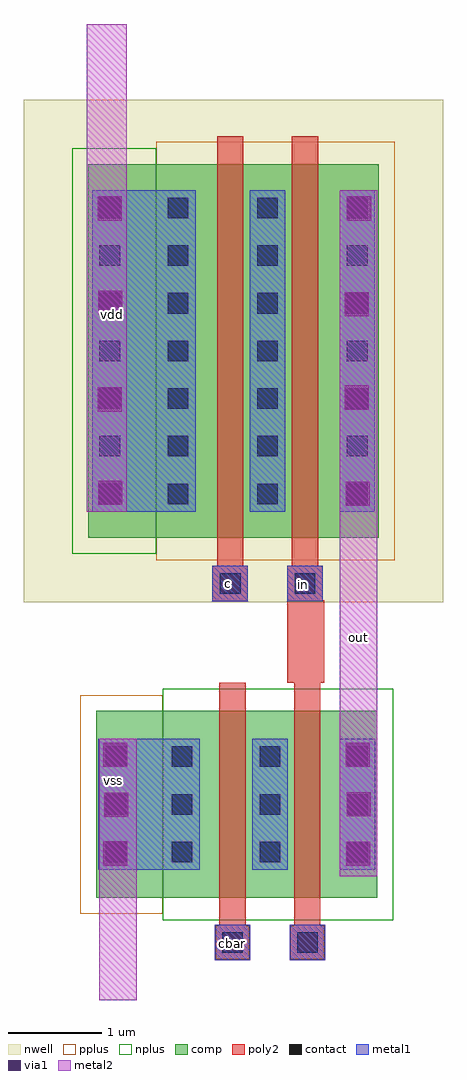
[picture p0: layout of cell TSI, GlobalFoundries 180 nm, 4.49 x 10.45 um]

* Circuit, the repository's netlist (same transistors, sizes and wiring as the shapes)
** sch_path: /foss/designs/CAD2/TSI/TSI.sch
.subckt TSI vdd c out in cbar vss
*.PININFO in:I out:O vdd:B vss:B cbar:B c:B
M1 net1 c vdd vdd pfet_03v3 L=0.28u W=4u nf=1 m=1
M2 out in net1 vdd pfet_03v3 L=0.28u W=4u nf=1 m=1
M3 out in net2 vss nfet_03v3 L=0.28u W=2u nf=1 m=1
M4 net2 cbar vss vss nfet_03v3 L=0.28u W=2u nf=1 m=1
.ends

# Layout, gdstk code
from math import pi, radians
import gdstk
lib = gdstk.Library(unit=1e-6, precision=5e-09)
def R(c, l, rs):  # rectangles x0, y0, x1, y1
    for r in rs: c.add(gdstk.rectangle(r[:2], r[2:], *l))
def A(c, l, x, y, w, h, nx, ny, dx, dy):  # array of equal rectangles
    R(c, l, [(x+i*dx, y+j*dy, x+i*dx+w, y+j*dy+h) for i in range(nx) for j in range(ny)])
nwell = (21, 0)
comp = (22, 0)
poly2 = (30, 0)
pplus = (31, 0)
nplus = (32, 0)
contact = (33, 0)
metal1 = (34, 0)
via1 = (35, 0)
metal2 = (36, 0)

pfet_1 = lib.new_cell('pfet$1')
R(pfet_1, nwell, [(-1.15,-0.69,3.34,4.69)])
R(pfet_1, comp, [(-0.46,0,0,4), (0,0,1.46,4), (1.46,0,1.92,4), (1.92,0,2.65,4)])
R(pfet_1, poly2, [(0.19,-0.3,0.47,4.3), (0.99,-0.3,1.27,4.3), (0.14,4.3,0.52,4.68), (0.94,4.3,1.32,4.68)])
R(pfet_1, pplus, [(-0.63,-0.24,1.92,4.24)])
R(pfet_1, nplus, [(1.92,-0.17,2.82,4.17)])
A(pfet_1, contact, -0.34, 0.36, 0.22, 0.22, 3, 7, 0.96, 0.51)
A(pfet_1, contact, 2.31, 0.36, 0.22, 0.22, 1, 7, 0, 0.51)
R(pfet_1, contact, [(0.22,4.38,0.44,4.6), (1.02,4.38,1.24,4.6)])
A(pfet_1, metal1, -0.42, 0.28, 0.38, 3.44, 3, 1, 0.96, 0)
R(pfet_1, metal1, [(2.23,0.28,2.61,3.72), (0.14,4.3,0.52,4.68), (0.94,4.3,1.32,4.68)])

nfet_1 = lib.new_cell('nfet$1')
R(nfet_1, comp, [(-0.42,0,0,2), (0,0,1.46,2), (1.46,0,1.88,2), (1.88,0,2.59,2)])
R(nfet_1, poly2, [(0.19,-0.3,0.47,2.3), (0.99,-0.3,1.27,2.3), (0.15,2.3,0.51,2.66), (0.95,2.3,1.31,2.66)])
R(nfet_1, pplus, [(1.88,-0.17,2.76,2.17)])
R(nfet_1, nplus, [(-0.59,-0.24,1.88,2.24)])
A(nfet_1, contact, -0.32, 0.38, 0.22, 0.22, 3, 3, 0.94, 0.51)
A(nfet_1, contact, 2.27, 0.38, 0.22, 0.22, 1, 3, 0, 0.51)
R(nfet_1, contact, [(0.22,2.37,0.44,2.59), (1.02,2.37,1.24,2.59)])
A(nfet_1, metal1, -0.4, 0.3, 0.38, 1.4, 3, 1, 0.94, 0)
R(nfet_1, metal1, [(2.19,0.3,2.57,1.7), (0.14,2.29,0.52,2.67), (0.94,2.29,1.32,2.67)])

tsi = lib.new_cell('TSI')
R(tsi, poly2, [(0.285,-5.97,0.68,-5.085)])
R(tsi, metal1, [(-1.74,-7.97,-0.65,-6.57), (-1.79,-4.135,-0.695,-0.695)])
R(tsi, via1, [(0.915,-7.93,1.175,-7.67), (-1.685,-7.925,-1.425,-7.665), (-1.675,-7.405,-1.415,-7.145), (0.92,-7.4,1.18,-7.14), (-1.685,-6.87,-1.425,-6.61), (0.91,-6.87,1.17,-6.61), (0.91,-4.075,1.17,-3.815), (-1.74,-4.065,-1.48,-3.805), (-1.745,-3.065,-1.485,-2.805), (0.9,-3.045,1.16,-2.785), (0.9,-2.045,1.16,-1.785), (-1.74,-2.03,-1.48,-1.77), (-1.745,-1.02,-1.485,-0.76), (0.925,-1.02,1.185,-0.76)])
R(tsi, metal2, [(-1.73,-9.365,-1.325,-6.57), (0.845,-8.04,1.25,-0.695), (-1.86,-4.135,-1.435,1.085)])
tsi.add(gdstk.Reference(pfet_1, (0.805,-0.415), rotation=pi))
tsi.add(gdstk.Reference(nfet_1, (0.83,-6.27), rotation=pi))
tsi.add(gdstk.Label('vss', (-1.58,-7.01), layer=34, texttype=10))
tsi.add(gdstk.Label('vdd', (-1.585,-2.03), layer=34, texttype=10))
tsi.add(gdstk.Label('cbar', (-0.305,-8.76), layer=34, texttype=10))
tsi.add(gdstk.Label('c', (-0.345,-4.91), layer=34, texttype=10))
tsi.add(gdstk.Label('in', (0.455,-4.915), layer=34, texttype=10))
tsi.add(gdstk.Label('out', (1.05,-5.48), layer=36, texttype=10))

lib.write_gds('TSI.gds')
